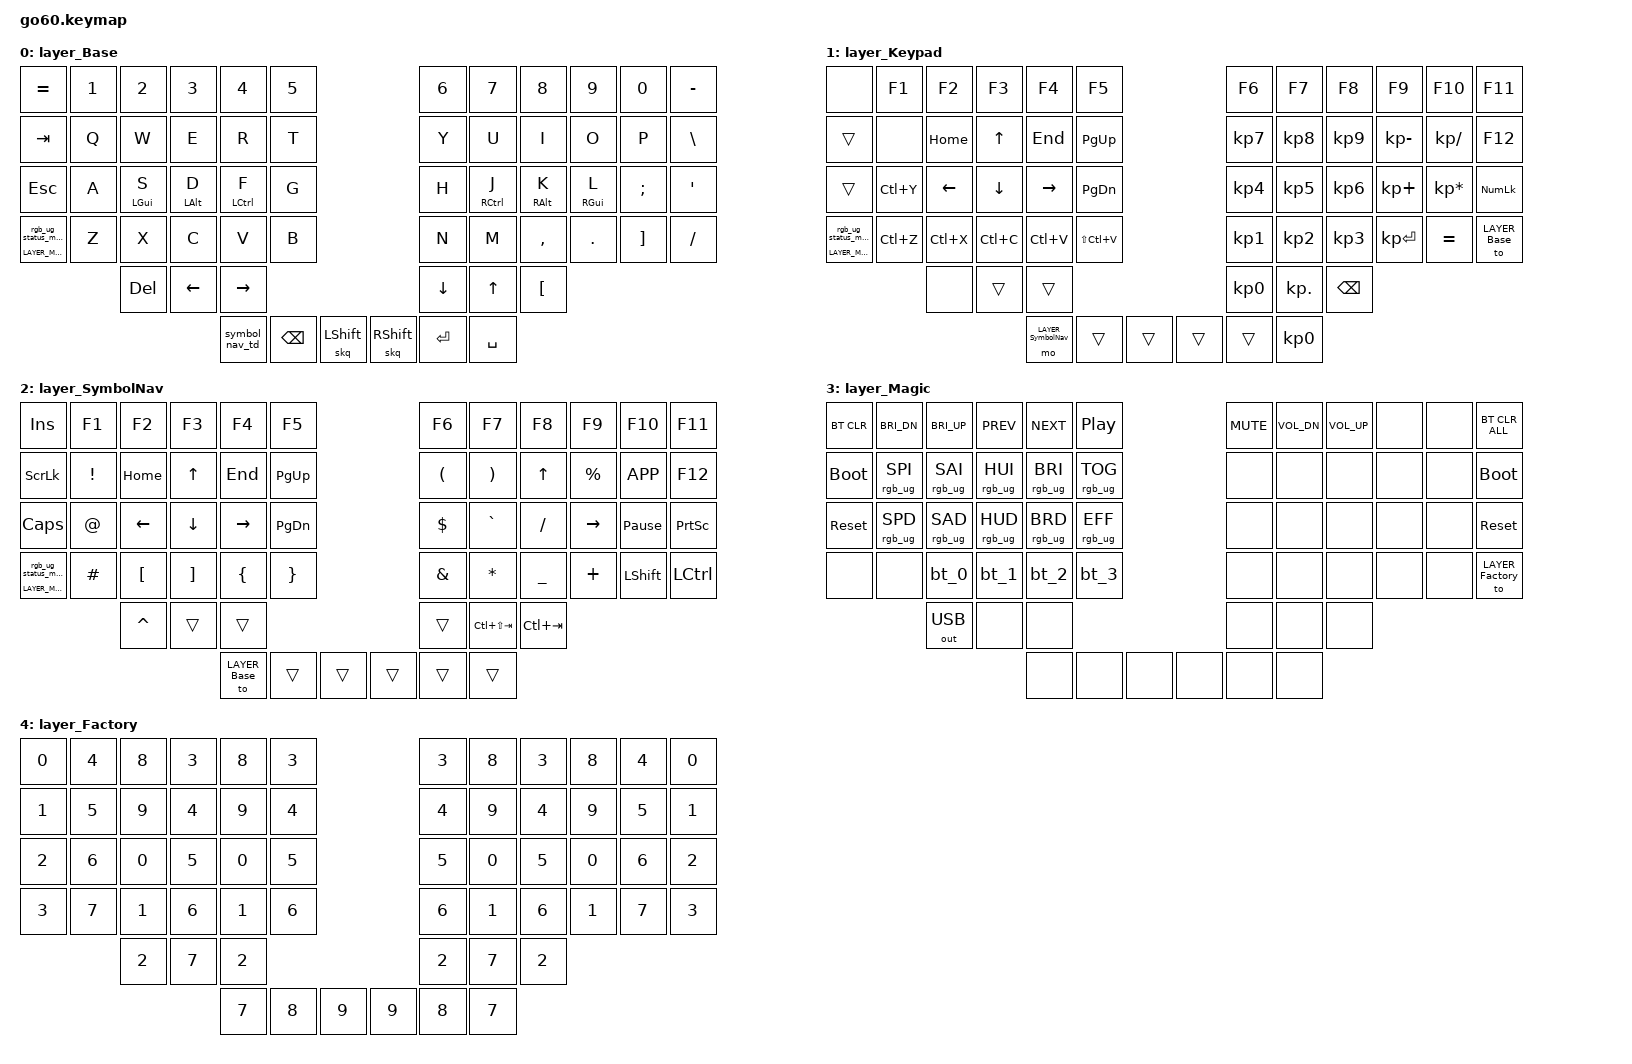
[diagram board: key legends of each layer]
/*
 * Copyright (c) 2020 The ZMK Contributors
 *
 * SPDX-License-Identifier: MIT
 */

#include <behaviors.dtsi>

#include <dt-bindings/zmk/bt.h>
#include <dt-bindings/zmk/ext_power.h>
#include <dt-bindings/zmk/keys.h>
#include <dt-bindings/zmk/outputs.h>
#include <dt-bindings/zmk/rgb.h>
#include <dt-bindings/zmk/input_transform.h>
#include <dt-bindings/zmk/pointing.h>

#include <input/processors.dtsi>
#include <zephyr/dt-bindings/input/input-event-codes.h>

// layers
#define LAYER_Base 0
#define LAYER_Keypad 1
#define LAYER_SymbolNav 2
#define LAYER_Magic 3
#define LAYER_Factory 4

#define LEFT_HAND_KEYS 13 14 15 16 17 25 26 27 28 29 37 38 39 40 41
#define RIGHT_HAND_KEYS 18 19 20 21 22 30 31 32 33 34 42 43
#define THUMB_KEYS 51 52 53 54 55 56

/* Mouse cluster */
#define LEFT_MOUSE_CLUSTER 48 49 50
#define RIGHT_MOUSE_CLUSTER 57 58 59
#define MOUSE_CLUSTER 48 49 50 57 58 59

/ {
    input_processors {
        zip_click_to_right_click_mapper: zip_click_to_right_click_mapper {
            compatible = "zmk,input-processor-code-mapper";
            #input-processor-cells = <0>;
            type = <INPUT_EV_KEY>;
            map = <INPUT_BTN_0 INPUT_BTN_1>;
        };
    };

    behaviors {
        magic: magic {
            compatible = "zmk,behavior-hold-tap";
            #binding-cells = <2>;
            flavor = "tap-preferred";
            tapping-term-ms = <200>;
            bindings = <&mo>, <&rgb_ug_status_macro>;
        };

        keypad_td: keypad_td {
            compatible = "zmk,behavior-tap-dance";
            #binding-cells = <0>;
            tapping-term-ms = <200>;
            bindings = <&mo LAYER_Keypad>, <&to LAYER_Keypad>;
        };

        symbol_nav_td: symbol_nav_td {
            compatible = "zmk,behavior-tap-dance";
            #binding-cells = <0>;
            tapping-term-ms = <200>;
            bindings = <&mo LAYER_SymbolNav>, <&to LAYER_SymbolNav>;
        };

        bt_0: bt_0 {
            compatible = "zmk,behavior-tap-dance";
            #binding-cells = <0>;
            tapping-term-ms = <200>;
            bindings = <&bt_select_0>, <&bt BT_DISC 0>;
        };
        bt_1: bt_1 {
            compatible = "zmk,behavior-tap-dance";
            #binding-cells = <0>;
            tapping-term-ms = <200>;
            bindings = <&bt_select_1>, <&bt BT_DISC 1>;
        };
        bt_2: bt_2 {
            compatible = "zmk,behavior-tap-dance";
            #binding-cells = <0>;
            tapping-term-ms = <200>;
            bindings = <&bt_select_2>, <&bt BT_DISC 2>;
        };
        bt_3: bt_3 {
            compatible = "zmk,behavior-tap-dance";
            #binding-cells = <0>;
            tapping-term-ms = <200>;
            bindings = <&bt_select_3>, <&bt BT_DISC 3>;
        };
        hl: home_row_mods_left_hand {
            compatible = "zmk,behavior-hold-tap";
            flavor = "balanced";
            label = "HOME_ROW_MODS_LEFT_HAND";
            #binding-cells = <2>;
            bindings = <&kp>, <&kp>;
            hold-trigger-key-positions = <RIGHT_HAND_KEYS THUMB_KEYS>;
            hold-trigger-on-release;
            tapping-term-ms = <250>;
            quick-tap-ms = <160>;
            require-prior-idle-ms = <160>;
        };

        hr: home_row_mods_right_hand {
            compatible = "zmk,behavior-hold-tap";
            flavor = "balanced";
            label = "HOME_ROW_MODS_RIGHT_HAND";
            #binding-cells = <2>;
            bindings = <&kp>, <&kp>;
            hold-trigger-key-positions = <LEFT_HAND_KEYS THUMB_KEYS>;
            hold-trigger-on-release;
            tapping-term-ms = <250>;
            quick-tap-ms = <160>;
            require-prior-idle-ms = <160>;
        };
        skq: sticky_key_quick_release {
            compatible = "zmk,behavior-sticky-key";
            label = "STICKY_KEY_QUICK_RELEASE";
            #binding-cells = <1>;
            bindings = <&kp>;
            release-after-ms = <1000>;
            quick-release;
            ignore-modifiers;
        };
    };

    macros {
        rgb_ug_status_macro: rgb_ug_status_macro {
            compatible = "zmk,behavior-macro";
            #binding-cells = <0>;
            bindings = <&rgb_ug RGB_STATUS>;
        };

        bt_select_0: bt_select_0 {
            compatible = "zmk,behavior-macro";
            #binding-cells = <0>;
            bindings
                = <&out OUT_BLE>,
                  <&bt BT_SEL 0>;
        };
        bt_select_1: bt_select_1 {
            compatible = "zmk,behavior-macro";
            #binding-cells = <0>;
            bindings
                = <&out OUT_BLE>,
                  <&bt BT_SEL 1>;
        };
        bt_select_2: bt_select_2 {
            compatible = "zmk,behavior-macro";
            #binding-cells = <0>;
            bindings
                = <&out OUT_BLE>,
                  <&bt BT_SEL 2>;
        };
        bt_select_3: bt_select_3 {
            compatible = "zmk,behavior-macro";
            #binding-cells = <0>;
            bindings
                = <&out OUT_BLE>,
                  <&bt BT_SEL 3>;
        };
    };

    keymap {
        compatible = "zmk,keymap";
        layer_Base {
            bindings = <
              &kp EQUAL  &kp N1     &kp N2      &kp N3      &kp N4      &kp N5                                                      &kp N6    &kp N7      &kp N8     &kp N9      &kp N0     &kp MINUS
              &kp TAB    &kp Q      &kp W       &kp E       &kp R       &kp T                                                       &kp Y     &kp U       &kp I      &kp O       &kp P      &kp BSLH
              &kp ESC    &kp A      &hl LGUI S  &hl LALT D  &hl LCTRL F &kp G                                                       &kp H     &hr RCTRL J &hr RALT K &hr RGUI L  &kp SEMI   &kp SQT
              &magic LAYER_Magic 0    &kp Z     &kp X       &kp C       &kp V   &kp B                                                         &kp N       &kp M      &kp COMMA   &kp DOT    &kp RBKT   &kp FSLH 
                               &kp DEL  &kp LEFT  &kp RIGHT                                                                         &kp DOWN  &kp UP      &kp LBKT 
                                                                  &symbol_nav_td  &kp BSPC  &skq LSHFT     &skq RSHFT  &kp RET  &kp SPACE
                                                     
            >;
        };

        layer_Keypad {
            bindings = <
                &none     &kp F1     &kp F2     &kp F3     &kp F4         &kp F5                                                 &kp F6     &kp F7      &kp F8        &kp F9          &kp F10        &kp F11
               &trans      &none   &kp HOME     &kp UP    &kp END      &kp PG_UP                                              &kp KP_N7  &kp KP_N8   &kp KP_N9  &kp KP_MINUS     &kp KP_SLASH        &kp F12
               &trans  &kp LC(Y)   &kp LEFT   &kp DOWN  &kp RIGHT      &kp PG_DN                                              &kp KP_N4  &kp KP_N5   &kp KP_N6   &kp KP_PLUS  &kp KP_MULTIPLY     &kp KP_NUM
 &magic LAYER_Magic 0  &kp LC(Z)  &kp LC(X)  &kp LC(C)  &kp LC(V)  &kp LS(LC(V))                                              &kp KP_N1  &kp KP_N2   &kp KP_N3  &kp KP_ENTER        &kp EQUAL &to LAYER_Base
                                      &none     &trans     &trans                                                                        &kp KP_N0  &kp KP_DOT      &kp BSPC
                                                             &mo LAYER_SymbolNav  &trans  &trans              &trans  &trans  &kp KP_N0
            >;
        };

        layer_SymbolNav {
            bindings = <
             &kp INS    &kp F1     &kp F2    &kp F3     &kp F4     &kp F5                                       &kp F6    &kp F7           &kp F8      &kp F9     &kp F10      &kp F11
             &kp SLCK  &kp EXCL   &kp HOME    &kp UP    &kp END  &kp PG_UP                                     &kp LPAR  &kp RPAR          &kp UP      &kp PRCNT  &kp K_APP    &kp F12
             &kp CAPS    &kp AT   &kp LEFT  &kp DOWN  &kp RIGHT  &kp PG_DN                                     &kp DLLR  &kp GRAVE         &kp FSLH    &kp RIGHT  &kp PAUSE_BREAK  &kp PSCRN
 &magic LAYER_Magic 0  &kp HASH   &kp LBKT  &kp RBKT   &kp LBRC   &kp RBRC                                     &kp AMPS  &kp STAR        &kp UNDER     &kp PLUS        &kp LSHFT  &kp LCTRL
                                 &kp CARET    &trans     &trans                                                            &trans  &kp LC(LS(TAB))     &kp LC(TAB)
                                                            &to LAYER_Base  &trans  &trans       &trans  &trans  &trans
            >;
        };

        layer_Magic {
            bindings = <
  &bt BT_CLR     &kp C_BRI_DN     &kp C_BRI_UP       &kp C_PREV       &kp C_NEXT         &kp C_PP                                &kp C_MUTE  &kp C_VOL_DN  &kp C_VOL_UP   &none   &none    &bt BT_CLR_ALL
 &bootloader  &rgb_ug RGB_SPI  &rgb_ug RGB_SAI  &rgb_ug RGB_HUI  &rgb_ug RGB_BRI  &rgb_ug RGB_TOG                                     &none         &none         &none   &none   &none       &bootloader
  &sys_reset  &rgb_ug RGB_SPD  &rgb_ug RGB_SAD  &rgb_ug RGB_HUD  &rgb_ug RGB_BRD  &rgb_ug RGB_EFF                                     &none         &none         &none   &none   &none        &sys_reset
       &none            &none            &bt_0            &bt_1            &bt_2            &bt_3                                     &none         &none         &none   &none   &none &to LAYER_Factory
                                  &out OUT_USB            &none            &none                                                                    &none         &none   &none
                                                                                            &none   &none   &none     &none   &none   &none
            >;
        };

        layer_Factory {
            bindings = <
 &kp N0  &kp N4  &kp N8  &kp N3  &kp N8  &kp N3                                       &kp N3  &kp N8  &kp N3  &kp N8  &kp N4  &kp N0
 &kp N1  &kp N5  &kp N9  &kp N4  &kp N9  &kp N4                                       &kp N4  &kp N9  &kp N4  &kp N9  &kp N5  &kp N1
 &kp N2  &kp N6  &kp N0  &kp N5  &kp N0  &kp N5                                       &kp N5  &kp N0  &kp N5  &kp N0  &kp N6  &kp N2
 &kp N3  &kp N7  &kp N1  &kp N6  &kp N1  &kp N6                                       &kp N6  &kp N1  &kp N6  &kp N1  &kp N7  &kp N3
                 &kp N2  &kp N7  &kp N2                                                       &kp N2  &kp N7  &kp N2
                                          &kp N7  &kp N8  &kp N9      &kp N9  &kp N8  &kp N7
            >;
        };
    };
};

&cirque_rh_listener {
    input-processors = <&zip_xy_scaler 1 1>;
    layer_2 {
        layers = <2>;
        input-processors = <&zip_xy_scaler 1 1>;
    };
};

&cirque_lh_listener {
    input-processors = <&zip_xy_to_scroll_mapper>, <&zip_xy_scaler 1 1>, <&zip_click_to_right_click_mapper>;
    layer_4 {
        layers = <4>;
        input-processors = <&zip_xy_scaler 1 1>;
    };
};
